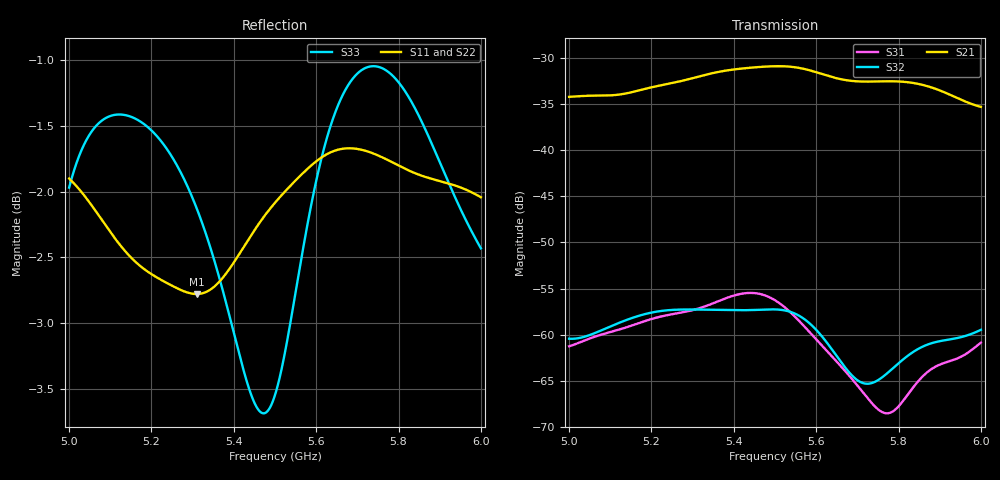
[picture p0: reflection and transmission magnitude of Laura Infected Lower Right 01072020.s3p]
! TOUCHSTONE file generated by CST MICROWAVE STUDIO
! Date and time: Thu Jul  2 04:26:39 2020
! Project name: Female Human Lung Lower Right.cst
! Header version: 2018
! Port assignment regex: !\s*Touchstone port\s*([0-9]+)\s*=\s*(CST MWS port|CST DS port)\s*([0-9]+|Zmin|Zmax)\s*\(\"(.*)\"\)(\s*mode\s*([0-9]+))?.*
! Touchstone port assignment:
! Touchstone port 1 = CST MWS port 1 ("")
! Touchstone port 2 = CST MWS port 2 ("")
! Touchstone port 3 = CST MWS port 3 ("")
# GHz S RI R 50
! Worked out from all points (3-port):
!   1001 points, 5 GHz to 6 GHz, reference 50 ohm
!   strongest paths, dB at 5 GHz, 5.25 GHz, 5.5 GHz, 5.75 GHz, 6 GHz:
!     S21: -34.2, -32.7, -30.9, -32.6, -35.3
!     S32: -60.4, -57.3, -57.3, -64.9, -59.5
!     S31: -61.2, -57.8, -56.3, -68.1, -60.9
!   lowest |S11| = -2.8 dB at 5.31 GHz (marker M1), VSWR 6.31, Z = 314 + j20.7 ohm
!   |S11| at or under -10 dB: nowhere
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5  0.8018 -0.0531  0.00067 -0.0194  0.000768 0.000433
   0.000663 -0.0194  0.7902 -0.0533  0.000944 0.000115
   0.000757 0.000421  0.000946 0.000111  0.7927 0.0849
5.133  0.7537 -0.0447  -0.0176 -0.0098  0.000235 -0.00106
       -0.0176 -0.0098  0.7471 -0.0378  -0.000164 -0.00118
       0.00023 -0.00106  -0.000165 -0.00118  0.8497 -4.13e-05
5.31  0.7261 0.0156  -0.0119 0.0218  -0.000855 0.00109
      -0.0119 0.0218  0.7454 0.0344  -0.000252 0.00135
      -0.000852 0.00108  -0.000251 0.00135  0.7793 -0.0739
5.427  0.7555 0.0622  0.0176 0.0215  0.00161 0.000458
       0.0176 0.0215  0.7756 0.039  0.00136 -8.88e-05
       0.00162 0.000456  0.00136 -8.87e-05  0.6757 -0.0322
5.5  0.7839 0.0664  0.0283 0.00338  0.00068 -0.00138
     0.0283 0.00338  0.7767 0.04  0.000439 -0.0013
     0.000681 -0.00138  0.000438 -0.0013  0.6606 0.0744
5.582  0.8091 0.0587  0.0195 -0.0189  -0.00085 -0.000607
       0.0195 -0.0189  0.7887 0.0532  -0.00105 -0.0005
       -0.000852 -0.000606  -0.00105 -0.000501  0.762 0.1498
5.704  0.824 0.0271  -0.00793 -0.0222  -0.000291 0.000427
       -0.00793 -0.0222  0.8175 0.0375  -0.000267 0.000492
       -0.000292 0.000428  -0.000267 0.000492  0.8787 0.0771
5.767  0.8176 0.0147  -0.0191 -0.0139  -7.03e-05 0.000372
       -0.0191 -0.0139  0.8174 0.0243  -3.09e-05 0.000604
       -6.87e-05 0.00037  -3.02e-05 0.000604  0.8838 0.021
5.858  0.8053 0.00984  -0.0214 0.00725  0.000298 0.000508
       -0.0214 0.00725  0.8104 0.0156  0.000778 0.000368
       0.000303 0.00051  0.000778 0.000369  0.8428 -0.036
6  0.7905 0.00944  0.00232 0.017  0.000562 -0.000689
   0.00231 0.017  0.7962 0.00745  -2.4e-05 -0.00106
   0.000569 -0.000706  -2.02e-05 -0.00106  0.7555 -0.0241
